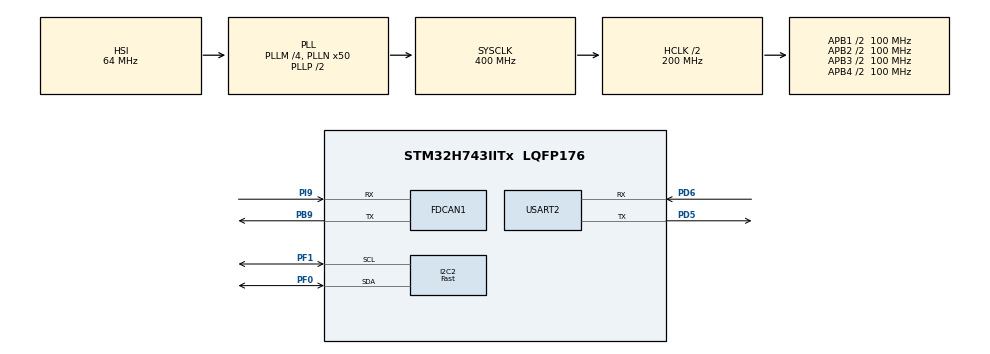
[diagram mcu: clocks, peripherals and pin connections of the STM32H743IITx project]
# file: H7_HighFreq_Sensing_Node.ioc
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CORTEX_M7.default_mode_Activation=1
FDCAN1.AutoRetransmission=ENABLE
FDCAN1.CalculateBaudRateNominal=500000
FDCAN1.CalculateTimeBitNominal=2000
FDCAN1.CalculateTimeQuantumNominal=100.0
FDCAN1.NominalPrescaler=10
FDCAN1.NominalTimeSeg1=15
FDCAN1.NominalTimeSeg2=4
FDCAN1.RxFifo0ElmtsNbr=32
FDCAN1.TxFifoQueueElmtsNbr=32
I2C2.I2C_Speed_Mode=I2C_Fast
I2C2.Timing=0x009034B6
Mcu.Family=STM32H7
Mcu.Name=STM32H743IITx
Mcu.Package=LQFP176
NVIC.PriorityGroup=NVIC_PRIORITYGROUP_4
PB9.Mode=FDCAN_Activate
PB9.Signal=FDCAN1_TX
PD5.Mode=Asynchronous
PD5.Signal=USART2_TX
PD6.Mode=Asynchronous
PD6.Signal=USART2_RX
PF0.GPIO_Pu=GPIO_PULLUP
PF0.Mode=I2C
PF0.Signal=I2C2_SDA
PF1.GPIO_Pu=GPIO_PULLUP
PF1.Mode=I2C
PF1.Signal=I2C2_SCL
PH0-OSC_IN\ (PH0).Mode=HSE-External-Oscillator
PH0-OSC_IN\ (PH0).Signal=RCC_OSC_IN
PH1-OSC_OUT\ (PH1).Mode=HSE-External-Oscillator
PH1-OSC_OUT\ (PH1).Signal=RCC_OSC_OUT
PI9.Mode=FDCAN_Activate
PI9.Signal=FDCAN1_RX
ProjectManager.HeapSize=0x200
ProjectManager.StackSize=0x400
ProjectManager.TargetToolchain=MDK-ARM V5.32
RCC.ADCFreq_Value=129000000
RCC.APB1Freq_Value=100000000
RCC.APB2Freq_Value=100000000
RCC.APB3Freq_Value=100000000
RCC.APB4Freq_Value=100000000
RCC.CortexFreq_Value=400000000
RCC.D1PPRE=RCC_APB3_DIV2
RCC.D2PPRE1=RCC_APB1_DIV2
RCC.D2PPRE2=RCC_APB2_DIV2
RCC.D3PPRE=RCC_APB4_DIV2
RCC.DIVM1=4
RCC.DIVN1=50
RCC.DIVQ1=8
RCC.HCLKFreq_Value=200000000
RCC.HPRE=RCC_HCLK_DIV2
RCC.PLLFRACN=0
RCC.SYSCLKFreq_VALUE=400000000
RCC.SYSCLKSource=RCC_SYSCLKSOURCE_PLLCLK
RCC.USBFreq_Value=100000000
USART2.VirtualMode-Asynchronous=VM_ASYNC
VP_MEMORYMAP_VS_MEMORYMAP.Mode=CurAppReg
board=custom

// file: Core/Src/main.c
/* USER CODE BEGIN Header */
/**
  ******************************************************************************
  * @file           : main.c
  * @brief          : Main program body
  ******************************************************************************
  * @attention
  *
  * Copyright (c) 2026 STMicroelectronics.
  * All rights reserved.
  *
  * This software is licensed under terms that can be found in the LICENSE file
  * in the root directory of this software component.
  * If no LICENSE file comes with this software, it is provided AS-IS.
  *
  ******************************************************************************
  */
/* USER CODE END Header */
#include "main.h"
#include "fdcan.h"
#include "i2c.h"
#include "usart.h"
#include "gpio.h"

void SystemClock_Config(void);
static void MPU_Config(void);

/* USER CODE BEGIN 0 */
FDCAN_TxHeaderTypeDef TxHeader;
uint8_t TxData[8];
uint8_t raw_data[14];
char msg[50]; // 串口打印用的字符串缓存
/* USER CODE END 0 */

int main(void)
{

  /* MPU Configuration--------------------------------------------------------*/
  MPU_Config();

  /* MCU Configuration--------------------------------------------------------*/

  /* Reset of all peripherals, Initializes the Flash interface and the Systick. */
  HAL_Init();

  /* Configure the system clock */
  SystemClock_Config();

  /* Initialize all configured peripherals */
  MX_GPIO_Init();
  MX_I2C2_Init();
  MX_USART2_UART_Init();
  MX_FDCAN1_Init();
  /* USER CODE BEGIN 2 */
	// 1. 启动 FDCAN
  if (HAL_FDCAN_Start(&hfdcan1) != HAL_OK) {
      Error_Handler();
  }

  // 2. 唤醒 MPU6050 (解除休眠模式)
  // MPU6050 默认 I2C 地址是 0xD0 (如果模块上的 AD0 引脚接了 3.3V，则是 0xD2)
  uint8_t pwr_mgmt_1 = 0x00;
  HAL_I2C_Mem_Write(&hi2c2, 0xD0, 0x6B, I2C_MEMADD_SIZE_8BIT, &pwr_mgmt_1, 1, 100);

  // 配置 CAN 发送帧头 (ID 为 0x301)
  FDCAN_TxHeaderTypeDef TxHeader;
  TxHeader.Identifier = 0x301;
  TxHeader.IdType = FDCAN_STANDARD_ID;
  TxHeader.TxFrameType = FDCAN_DATA_FRAME;
  TxHeader.DataLength = FDCAN_DLC_BYTES_8;
  TxHeader.ErrorStateIndicator = FDCAN_ESI_ACTIVE;
  TxHeader.BitRateSwitch = FDCAN_BRS_OFF;
  TxHeader.FDFormat = FDCAN_CLASSIC_CAN;
  TxHeader.TxEventFifoControl = FDCAN_NO_TX_EVENTS;
  TxHeader.MessageMarker = 0;

  uint8_t txData[8] = {0};

  /* USER CODE END 2 */

  /* Infinite loop */
  while (1)
  {

    /* USER CODE BEGIN 3 */
    uint8_t mpu_buf[6];
    int16_t ax, ay, az;

    // 尝试读取 MPU6050
    if (HAL_I2C_Mem_Read(&hi2c2, 0xD0, 0x3B, I2C_MEMADD_SIZE_8BIT, mpu_buf, 6, 100) == HAL_OK)
    {
        // 读取成功：打包真实数据
        ax = (int16_t)((mpu_buf[0] << 8) | mpu_buf[1]);
        ay = (int16_t)((mpu_buf[2] << 8) | mpu_buf[3]);
        az = (int16_t)((mpu_buf[4] << 8) | mpu_buf[5]);

        txData[0] = (ax >> 8) & 0xFF;
        txData[1] = ax & 0xFF;
        txData[2] = (ay >> 8) & 0xFF;
        txData[3] = ay & 0xFF;
        txData[4] = (az >> 8) & 0xFF;
        txData[5] = az & 0xFF;
        txData[6] = 0x00;
        txData[7] = 0x00;
    }
    else
    {
        // 🚨 读取失败：打包全 EE 的报警数据
        txData[0] = 0xEE;
        txData[1] = 0xEE;
        txData[2] = 0xEE;
        txData[3] = 0xEE;
        txData[4] = 0xEE;
        txData[5] = 0xEE;
        txData[6] = 0xEE;
        txData[7] = 0xEE;
    }

    // ⚠️ 无论 I2C 成不成功，都把 CAN 报文强制发出去！
    HAL_FDCAN_AddMessageToTxFifoQ(&hfdcan1, &TxHeader, txData);

    HAL_Delay(20);
  }
  /* USER CODE END 3 */
}

void SystemClock_Config(void)
{
  RCC_OscInitTypeDef RCC_OscInitStruct = {0};
  RCC_ClkInitTypeDef RCC_ClkInitStruct = {0};

  /** Supply configuration update enable
  */
  HAL_PWREx_ConfigSupply(PWR_LDO_SUPPLY);

  /** Configure the main internal regulator output voltage
  */
  __HAL_PWR_VOLTAGESCALING_CONFIG(PWR_REGULATOR_VOLTAGE_SCALE1);

  while(!__HAL_PWR_GET_FLAG(PWR_FLAG_VOSRDY)) {}

  /** Initializes the RCC Oscillators according to the specified parameters
  * in the RCC_OscInitTypeDef structure.
  */
  RCC_OscInitStruct.OscillatorType = RCC_OSCILLATORTYPE_HSI;
  RCC_OscInitStruct.HSIState = RCC_HSI_DIV1;
  RCC_OscInitStruct.HSICalibrationValue = RCC_HSICALIBRATION_DEFAULT;
  RCC_OscInitStruct.PLL.PLLState = RCC_PLL_ON;
  RCC_OscInitStruct.PLL.PLLSource = RCC_PLLSOURCE_HSI;
  RCC_OscInitStruct.PLL.PLLM = 4;
  RCC_OscInitStruct.PLL.PLLN = 50;
  RCC_OscInitStruct.PLL.PLLP = 2;
  RCC_OscInitStruct.PLL.PLLQ = 8;
  RCC_OscInitStruct.PLL.PLLR = 2;
  RCC_OscInitStruct.PLL.PLLRGE = RCC_PLL1VCIRANGE_3;
  RCC_OscInitStruct.PLL.PLLVCOSEL = RCC_PLL1VCOWIDE;
  RCC_OscInitStruct.PLL.PLLFRACN = 0;
  if (HAL_RCC_OscConfig(&RCC_OscInitStruct) != HAL_OK)
  {
    Error_Handler();
  }

  /** Initializes the CPU, AHB and APB buses clocks
  */
  RCC_ClkInitStruct.ClockType = RCC_CLOCKTYPE_HCLK|RCC_CLOCKTYPE_SYSCLK
                              |RCC_CLOCKTYPE_PCLK1|RCC_CLOCKTYPE_PCLK2
                              |RCC_CLOCKTYPE_D3PCLK1|RCC_CLOCKTYPE_D1PCLK1;
  RCC_ClkInitStruct.SYSCLKSource = RCC_SYSCLKSOURCE_PLLCLK;
  RCC_ClkInitStruct.SYSCLKDivider = RCC_SYSCLK_DIV1;
  RCC_ClkInitStruct.AHBCLKDivider = RCC_HCLK_DIV2;
  RCC_ClkInitStruct.APB3CLKDivider = RCC_APB3_DIV2;
  RCC_ClkInitStruct.APB1CLKDivider = RCC_APB1_DIV2;
  RCC_ClkInitStruct.APB2CLKDivider = RCC_APB2_DIV2;
  RCC_ClkInitStruct.APB4CLKDivider = RCC_APB4_DIV2;

  if (HAL_RCC_ClockConfig(&RCC_ClkInitStruct, FLASH_LATENCY_2) != HAL_OK)
  {
    Error_Handler();
  }
}

 /* MPU Configuration */

void MPU_Config(void)
{
  MPU_Region_InitTypeDef MPU_InitStruct = {0};

  /* Disables the MPU */
  HAL_MPU_Disable();

  /** Initializes and configures the Region and the memory to be protected
  */
  MPU_InitStruct.Enable = MPU_REGION_ENABLE;
  MPU_InitStruct.Number = MPU_REGION_NUMBER0;
  MPU_InitStruct.BaseAddress = 0x0;
  MPU_InitStruct.Size = MPU_REGION_SIZE_4GB;
  MPU_InitStruct.SubRegionDisable = 0x87;
  MPU_InitStruct.TypeExtField = MPU_TEX_LEVEL0;
  MPU_InitStruct.AccessPermission = MPU_REGION_NO_ACCESS;
  MPU_InitStruct.DisableExec = MPU_INSTRUCTION_ACCESS_DISABLE;
  MPU_InitStruct.IsShareable = MPU_ACCESS_SHAREABLE;
  MPU_InitStruct.IsCacheable = MPU_ACCESS_NOT_CACHEABLE;
  MPU_InitStruct.IsBufferable = MPU_ACCESS_NOT_BUFFERABLE;

  HAL_MPU_ConfigRegion(&MPU_InitStruct);
  /* Enables the MPU */
  HAL_MPU_Enable(MPU_PRIVILEGED_DEFAULT);

}

void Error_Handler(void)
{
  __disable_irq();
  while (1)
  {
  }
}
